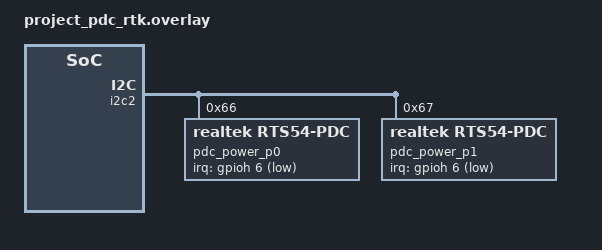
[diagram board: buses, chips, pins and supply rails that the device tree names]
/* Copyright 2025 The ChromiumOS Authors
 * Use of this source code is governed by a BSD-style license that can be
 * found in the LICENSE file.
 */

 &i2c2 {
	pdc_power_p0: rts54-pdc@66 {
		compatible = "realtek,rts54-pdc";
		reg = <0x66>;
		/* GPI7 = BAT_DET pin also available on header J11 pin 1 */
		irq-gpios = <&gpioh 6 (GPIO_ACTIVE_LOW | GPIO_PULL_UP)>;
		ccd;
	};
	pdc_power_p1: rts54-pdc@67 {
		compatible = "realtek,rts54-pdc";
		reg = <0x67>;
		irq-gpios = <&gpioh 6 (GPIO_ACTIVE_LOW | GPIO_PULL_UP)>;
		no-fw-update;
	};
};
